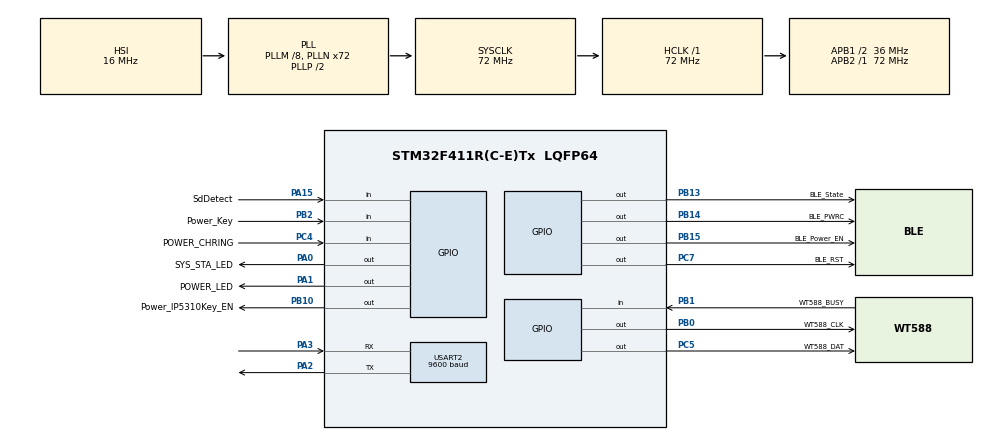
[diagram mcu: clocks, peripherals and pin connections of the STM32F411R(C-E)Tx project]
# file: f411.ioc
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Dma.Request0=USART2_RX
Dma.Request1=USART2_TX
Dma.USART2_RX.0.Direction=DMA_PERIPH_TO_MEMORY
Dma.USART2_RX.0.FIFOMode=DMA_FIFOMODE_DISABLE
Dma.USART2_RX.0.Instance=DMA1_Stream5
Dma.USART2_RX.0.MemDataAlignment=DMA_MDATAALIGN_BYTE
Dma.USART2_RX.0.MemInc=DMA_MINC_ENABLE
Dma.USART2_RX.0.Mode=DMA_NORMAL
Dma.USART2_RX.0.PeriphDataAlignment=DMA_PDATAALIGN_BYTE
Dma.USART2_RX.0.PeriphInc=DMA_PINC_DISABLE
Dma.USART2_RX.0.Priority=DMA_PRIORITY_LOW
Dma.USART2_TX.1.Direction=DMA_MEMORY_TO_PERIPH
Dma.USART2_TX.1.FIFOMode=DMA_FIFOMODE_DISABLE
Dma.USART2_TX.1.Instance=DMA1_Stream6
Dma.USART2_TX.1.MemDataAlignment=DMA_MDATAALIGN_BYTE
Dma.USART2_TX.1.MemInc=DMA_MINC_ENABLE
Dma.USART2_TX.1.Mode=DMA_NORMAL
Dma.USART2_TX.1.PeriphDataAlignment=DMA_PDATAALIGN_BYTE
Dma.USART2_TX.1.PeriphInc=DMA_PINC_DISABLE
Dma.USART2_TX.1.Priority=DMA_PRIORITY_LOW
Mcu.Family=STM32F4
Mcu.Name=STM32F411R(C-E)Tx
Mcu.Package=LQFP64
NVIC.DMA1_Stream5_IRQn=true\:0\:0\:false\:false\:true\:false\:true\:true
NVIC.DMA1_Stream6_IRQn=true\:0\:0\:false\:false\:true\:false\:true\:true
NVIC.PriorityGroup=NVIC_PRIORITYGROUP_2
NVIC.USART2_IRQn=true\:0\:0\:false\:false\:true\:true\:true\:true
PA0-WKUP.GPIO_Label=SYS_STA_LED
PA0-WKUP.Signal=GPIO_Output
PA1.GPIO_Label=POWER_LED
PA1.Signal=GPIO_Output
PA13.Mode=Trace_Asynchronous_SW
PA13.Signal=SYS_JTMS-SWDIO
PA14.Mode=Trace_Asynchronous_SW
PA14.Signal=SYS_JTCK-SWCLK
PA15.GPIO_Label=SdDetect
PA15.GPIO_PuPd=GPIO_PULLUP
PA15.Signal=GPIO_Input
PA2.Mode=Asynchronous
PA2.Signal=USART2_TX
PA3.Mode=Asynchronous
PA3.Signal=USART2_RX
PB0.GPIO_Label=WT588_CLK
PB0.GPIO_PuPd=GPIO_PULLUP
PB0.PinState=GPIO_PIN_SET
PB0.Signal=GPIO_Output
PB1.GPIO_Label=WT588_BUSY
PB1.GPIO_PuPd=GPIO_PULLUP
PB1.Signal=GPIO_Input
PB10.GPIO_Label=Power_IP5310Key_EN
PB10.PinState=GPIO_PIN_RESET
PB10.Signal=GPIO_Output
PB13.GPIO_Label=BLE_State
PB13.Signal=GPIO_Output
PB14.GPIO_Label=BLE_PWRC
PB14.Signal=GPIO_Output
PB15.GPIO_Label=BLE_Power_EN
PB15.Signal=GPIO_Output
PB2.GPIO_Label=Power_Key
PB2.GPIO_PuPd=GPIO_PULLUP
PB2.Signal=GPIO_Input
PB3.Mode=Trace_Asynchronous_SW
PB3.Signal=SYS_JTDO-SWO
PC4.GPIO_Label=POWER_CHRING
PC4.GPIO_PuPd=GPIO_PULLUP
PC4.Signal=GPIO_Input
PC5.GPIO_Label=WT588_DAT
PC5.GPIO_ModeDefaultOutputPP=GPIO_MODE_OUTPUT_PP
PC5.GPIO_PuPd=GPIO_PULLUP
PC5.PinState=GPIO_PIN_SET
PC5.Signal=GPIO_Output
PC7.GPIO_Label=BLE_RST
PC7.Signal=GPIO_Output
PH0\ -\ OSC_IN.Mode=HSE-External-Oscillator
PH0\ -\ OSC_IN.Signal=RCC_OSC_IN
PH1\ -\ OSC_OUT.Mode=HSE-External-Oscillator
PH1\ -\ OSC_OUT.Signal=RCC_OSC_OUT
ProjectManager.HeapSize=0x200
ProjectManager.StackSize=0x1000
ProjectManager.TargetToolchain=Makefile
RCC.48MHZClocksFreq_Value=48000000
RCC.AHBFreq_Value=72000000
RCC.APB1CLKDivider=RCC_HCLK_DIV2
RCC.APB1Freq_Value=36000000
RCC.APB1TimFreq_Value=72000000
RCC.APB2Freq_Value=72000000
RCC.APB2TimFreq_Value=72000000
RCC.CortexFreq_Value=72000000
RCC.HCLKFreq_Value=72000000
RCC.HSE_VALUE=8000000
RCC.HSI_VALUE=16000000
RCC.LSE_VALUE=32768
RCC.PLLM=8
RCC.PLLN=72
RCC.PLLQ=3
RCC.SYSCLKFreq_VALUE=72000000
RCC.SYSCLKSource=RCC_SYSCLKSOURCE_PLLCLK
RCC.VCOOutputFreq_Value=144000000
TIM2.Period=0
TIM2.Prescaler=71
USART2.BaudRate=9600
USART2.VirtualMode=VM_ASYNC
VP_TIM2_VS_ClockSourceINT.Mode=Internal
board=custom

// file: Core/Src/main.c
/* USER CODE BEGIN Header */
/**
 ******************************************************************************
 * @file           : main.c
 * @brief          : Main program body
 ******************************************************************************
 * @attention
 *
 * Copyright (c) 2023 STMicroelectronics.
 * All rights reserved.
 *
 * This software is licensed under terms that can be found in the LICENSE file
 * in the root directory of this software component.
 * If no LICENSE file comes with this software, it is provided AS-IS.
 *
 ******************************************************************************
 */
/* USER CODE END Header */
#include "main.h"

/* USER CODE BEGIN Includes */
#include "update.h"
// bootloader:48KB@0x08000000
// para:      16KB@0x0800C000
// app:      448KB@0x08010000
/* USER CODE END Includes */

TIM_HandleTypeDef htim2;

UART_HandleTypeDef huart2;
DMA_HandleTypeDef hdma_usart2_rx;
DMA_HandleTypeDef hdma_usart2_tx;

void SystemClock_Config(void);
static void MX_GPIO_Init(void);
static void MX_DMA_Init(void);
static void MX_USART2_UART_Init(void);
static void MX_TIM2_Init(void);
/* USER CODE BEGIN PFP */
#define APPLICATION_ADDRESS (uint32_t)0x08010000
unsigned int check = 0;
unsigned int pollcnt;
unsigned short RxLenU2;
unsigned char gotoAppflag = 0;
const Config_type Config_default = {
    .boot_count = 0,
    .modbus_addr = 1,
    .Voltage_offset = 3000,
    .Current_offset = -2000,
    .boof = 1,
};
void System_Jump2Bootloader(void)
{

  typedef void (*pFunction)(void);
  pFunction Jump_To_Application;
  uint32_t JumpAddress;
  check = (*(__IO uint32_t *)APPLICATION_ADDRESS);

#if 0
  unsigned char i = 0;
  __disable_irq();
  SysTick->CTRL = 0;
  SysTick->LOAD = 0;
  SysTick->VAL = 0;
  HAL_RCC_DeInit();
  for (i = 0; i < 8; i++)
  {
    NVIC->ICER[i] = 0xFFFFFFFF;
    NVIC->ICPR[i] = 0xFFFFFFFF;
  }
  __enable_irq();
  __set_MSP(*(uint32_t *)APPLICATION_ADDRESS);
  __set_CONTROL(0);
#endif
  if (((*(__IO uint32_t *)APPLICATION_ADDRESS) & 0x2FFE0000) == 0x20020000)
  {
    HAL_UART_DMAStop(&huart2);

    /* Jump to user application */
    JumpAddress = *(__IO uint32_t *)(APPLICATION_ADDRESS + 4);
    Jump_To_Application = (pFunction)JumpAddress;
    /* Initialize user application's Stack Pointer */
    __set_MSP(*(__IO uint32_t *)APPLICATION_ADDRESS);
    Jump_To_Application();
    /* do nothing */
    while (1)
    {
      ;
    }
  }
}

/* USER CODE END PFP */

int main(void)
{

  /* MCU Configuration--------------------------------------------------------*/

  /* Reset of all peripherals, Initializes the Flash interface and the Systick. */
  HAL_Init();

  /* Configure the system clock */
  SystemClock_Config();

  /* Initialize all configured peripherals */
  MX_GPIO_Init();
  MX_DMA_Init();
  MX_USART2_UART_Init();
  MX_TIM2_Init();
  /* USER CODE BEGIN 2 */
  // IIC_Send_Byte(0);
  EEPROM_Init(&Config_default);
  Config_Read_Buf(0, &boot_count, sizeof(boot_count));
  boot_count++;
  Config_Write_Buf(0, &boot_count, sizeof(boot_count));
  Config_Read_Buf(6, &Voltage, sizeof(Voltage));
  Config_Read_Buf(14, &bootloaderflag, sizeof(bootloaderflag));               // 读取booloader
  if (bootloaderflag == 0xFFFF || bootloaderflag == 4 || bootloaderflag == 3) // 没有被配置过  bootloader中要求跳转到APP
  {
    bootloaderflag = 1;
    Config_Write_Buf(14, &bootloaderflag, sizeof(bootloaderflag));
  }
  if (bootloaderflag == 1) // 如果要去app就去app
  {
    System_Jump2Bootloader(); // 尝试启动app
    bootloaderflag = 2;       // 想去app 但是app没有程序
  }

  HAL_UART_Receive_DMA(&huart2, RxBufU2, MAXU2MAX);
  __HAL_UART_ENABLE_IT(&huart2, UART_IT_IDLE);
  shortKeyPress();
  BlerstH;
  BlePwrcH;
  BlePwrOn;

  /* USER CODE END 2 */

  /* Infinite loop */
  while (1)
  {

    /* USER CODE BEGIN 3 */
    exPool();
    if (pollcnt > 500)
    {
      pollcnt = 0;
      HAL_GPIO_TogglePin(POWER_LED_GPIO_Port, POWER_LED_Pin);
      HAL_GPIO_TogglePin(SYS_STA_LED_GPIO_Port, SYS_STA_LED_Pin);
    }
    if (bootloaderflag == 3 || gotoAppflag == 1) // 升级完成
    {
      gotoAppflag = 0;
      bootloaderflag = 4;                                            // 去app运行的标志
      Config_Write_Buf(14, &bootloaderflag, sizeof(bootloaderflag)); // 将这个标志存进FLASH
      System_Jump2Bootloader();                                      // 跳转去APP
    }
    if (HAL_GPIO_ReadPin(Power_Key_GPIO_Port, Power_Key_Pin) == GPIO_PIN_RESET)
    {

      // System_Jump2Bootloader();
    }

    /* USER CODE END 3 */
  }
}
void SystemClock_Config(void)
{
  RCC_OscInitTypeDef RCC_OscInitStruct = {0};
  RCC_ClkInitTypeDef RCC_ClkInitStruct = {0};

  /** Configure the main internal regulator output voltage
   */
  __HAL_RCC_PWR_CLK_ENABLE();
  __HAL_PWR_VOLTAGESCALING_CONFIG(PWR_REGULATOR_VOLTAGE_SCALE1);

  /** Initializes the RCC Oscillators according to the specified parameters
   * in the RCC_OscInitTypeDef structure.
   */
  RCC_OscInitStruct.OscillatorType = RCC_OSCILLATORTYPE_HSI;
  RCC_OscInitStruct.HSIState = RCC_HSI_ON;
  RCC_OscInitStruct.HSICalibrationValue = RCC_HSICALIBRATION_DEFAULT;
  RCC_OscInitStruct.PLL.PLLState = RCC_PLL_ON;
  RCC_OscInitStruct.PLL.PLLSource = RCC_PLLSOURCE_HSI;
  RCC_OscInitStruct.PLL.PLLM = 8;
  RCC_OscInitStruct.PLL.PLLN = 72;
  RCC_OscInitStruct.PLL.PLLP = RCC_PLLP_DIV2;
  RCC_OscInitStruct.PLL.PLLQ = 3;
  if (HAL_RCC_OscConfig(&RCC_OscInitStruct) != HAL_OK)
  {
    Error_Handler();
  }

  /** Initializes the CPU, AHB and APB buses clocks
   */
  RCC_ClkInitStruct.ClockType = RCC_CLOCKTYPE_HCLK | RCC_CLOCKTYPE_SYSCLK | RCC_CLOCKTYPE_PCLK1 | RCC_CLOCKTYPE_PCLK2;
  RCC_ClkInitStruct.SYSCLKSource = RCC_SYSCLKSOURCE_PLLCLK;
  RCC_ClkInitStruct.AHBCLKDivider = RCC_SYSCLK_DIV1;
  RCC_ClkInitStruct.APB1CLKDivider = RCC_HCLK_DIV2;
  RCC_ClkInitStruct.APB2CLKDivider = RCC_HCLK_DIV1;

  if (HAL_RCC_ClockConfig(&RCC_ClkInitStruct, FLASH_LATENCY_2) != HAL_OK)
  {
    Error_Handler();
  }
}

static void MX_TIM2_Init(void)
{

  TIM_ClockConfigTypeDef sClockSourceConfig = {0};
  TIM_MasterConfigTypeDef sMasterConfig = {0};

  htim2.Instance = TIM2;
  htim2.Init.Prescaler = 71;
  htim2.Init.CounterMode = TIM_COUNTERMODE_UP;
  htim2.Init.Period = 0;
  htim2.Init.ClockDivision = TIM_CLOCKDIVISION_DIV1;
  htim2.Init.AutoReloadPreload = TIM_AUTORELOAD_PRELOAD_DISABLE;
  if (HAL_TIM_Base_Init(&htim2) != HAL_OK)
  {
    Error_Handler();
  }
  sClockSourceConfig.ClockSource = TIM_CLOCKSOURCE_INTERNAL;
  if (HAL_TIM_ConfigClockSource(&htim2, &sClockSourceConfig) != HAL_OK)
  {
    Error_Handler();
  }
  sMasterConfig.MasterOutputTrigger = TIM_TRGO_RESET;
  sMasterConfig.MasterSlaveMode = TIM_MASTERSLAVEMODE_DISABLE;
  if (HAL_TIMEx_MasterConfigSynchronization(&htim2, &sMasterConfig) != HAL_OK)
  {
    Error_Handler();
  }
}

static void MX_USART2_UART_Init(void)
{

  huart2.Instance = USART2;
  huart2.Init.BaudRate = 230400;
  huart2.Init.WordLength = UART_WORDLENGTH_8B;
  huart2.Init.StopBits = UART_STOPBITS_1;
  huart2.Init.Parity = UART_PARITY_NONE;
  huart2.Init.Mode = UART_MODE_TX_RX;
  huart2.Init.HwFlowCtl = UART_HWCONTROL_NONE;
  huart2.Init.OverSampling = UART_OVERSAMPLING_16;
  if (HAL_UART_Init(&huart2) != HAL_OK)
  {
    Error_Handler();
  }
}

static void MX_DMA_Init(void)
{

  /* DMA controller clock enable */
  __HAL_RCC_DMA1_CLK_ENABLE();

  /* DMA interrupt init */
  /* DMA1_Stream5_IRQn interrupt configuration */
  HAL_NVIC_SetPriority(DMA1_Stream5_IRQn, 0, 0);
  HAL_NVIC_EnableIRQ(DMA1_Stream5_IRQn);
  /* DMA1_Stream6_IRQn interrupt configuration */
  HAL_NVIC_SetPriority(DMA1_Stream6_IRQn, 0, 0);
  HAL_NVIC_EnableIRQ(DMA1_Stream6_IRQn);
}

static void MX_GPIO_Init(void)
{
  GPIO_InitTypeDef GPIO_InitStruct = {0};

  /* GPIO Ports Clock Enable */
  __HAL_RCC_GPIOH_CLK_ENABLE();
  __HAL_RCC_GPIOA_CLK_ENABLE();
  __HAL_RCC_GPIOC_CLK_ENABLE();
  __HAL_RCC_GPIOB_CLK_ENABLE();

  /*Configure GPIO pin Output Level */
  HAL_GPIO_WritePin(GPIOA, SYS_STA_LED_Pin | POWER_LED_Pin, GPIO_PIN_RESET);

  /*Configure GPIO pin Output Level */
  HAL_GPIO_WritePin(WT588_DAT_GPIO_Port, WT588_DAT_Pin, GPIO_PIN_SET);

  /*Configure GPIO pin Output Level */
  HAL_GPIO_WritePin(WT588_CLK_GPIO_Port, WT588_CLK_Pin, GPIO_PIN_SET);

  /*Configure GPIO pin Output Level */
  HAL_GPIO_WritePin(GPIOB, Power_IP5310Key_EN_Pin | BLE_State_Pin | BLE_PWRC_Pin | BLE_Power_EN_Pin, GPIO_PIN_RESET);

  /*Configure GPIO pin Output Level */
  HAL_GPIO_WritePin(BLE_RST_GPIO_Port, BLE_RST_Pin, GPIO_PIN_RESET);

  /*Configure GPIO pins : SYS_STA_LED_Pin POWER_LED_Pin */
  GPIO_InitStruct.Pin = SYS_STA_LED_Pin | POWER_LED_Pin;
  GPIO_InitStruct.Mode = GPIO_MODE_OUTPUT_PP;
  GPIO_InitStruct.Pull = GPIO_NOPULL;
  GPIO_InitStruct.Speed = GPIO_SPEED_FREQ_LOW;
  HAL_GPIO_Init(GPIOA, &GPIO_InitStruct);

  /*Configure GPIO pin : POWER_CHRING_Pin */
  GPIO_InitStruct.Pin = POWER_CHRING_Pin;
  GPIO_InitStruct.Mode = GPIO_MODE_INPUT;
  GPIO_InitStruct.Pull = GPIO_PULLUP;
  HAL_GPIO_Init(POWER_CHRING_GPIO_Port, &GPIO_InitStruct);

  /*Configure GPIO pin : WT588_DAT_Pin */
  GPIO_InitStruct.Pin = WT588_DAT_Pin;
  GPIO_InitStruct.Mode = GPIO_MODE_OUTPUT_PP;
  GPIO_InitStruct.Pull = GPIO_PULLUP;
  GPIO_InitStruct.Speed = GPIO_SPEED_FREQ_LOW;
  HAL_GPIO_Init(WT588_DAT_GPIO_Port, &GPIO_InitStruct);

  /*Configure GPIO pin : WT588_CLK_Pin */
  GPIO_InitStruct.Pin = WT588_CLK_Pin;
  GPIO_InitStruct.Mode = GPIO_MODE_OUTPUT_PP;
  GPIO_InitStruct.Pull = GPIO_PULLUP;
  GPIO_InitStruct.Speed = GPIO_SPEED_FREQ_LOW;
  HAL_GPIO_Init(WT588_CLK_GPIO_Port, &GPIO_InitStruct);

  /*Configure GPIO pins : WT588_BUSY_Pin Power_Key_Pin */
  GPIO_InitStruct.Pin = WT588_BUSY_Pin | Power_Key_Pin;
  GPIO_InitStruct.Mode = GPIO_MODE_INPUT;
  GPIO_InitStruct.Pull = GPIO_PULLUP;
  HAL_GPIO_Init(GPIOB, &GPIO_InitStruct);

  /*Configure GPIO pins : Power_IP5310Key_EN_Pin BLE_State_Pin BLE_PWRC_Pin BLE_Power_EN_Pin */
  GPIO_InitStruct.Pin = Power_IP5310Key_EN_Pin | BLE_State_Pin | BLE_PWRC_Pin | BLE_Power_EN_Pin;
  GPIO_InitStruct.Mode = GPIO_MODE_OUTPUT_PP;
  GPIO_InitStruct.Pull = GPIO_NOPULL;
  GPIO_InitStruct.Speed = GPIO_SPEED_FREQ_LOW;
  HAL_GPIO_Init(GPIOB, &GPIO_InitStruct);

  /*Configure GPIO pin : BLE_RST_Pin */
  GPIO_InitStruct.Pin = BLE_RST_Pin;
  GPIO_InitStruct.Mode = GPIO_MODE_OUTPUT_PP;
  GPIO_InitStruct.Pull = GPIO_NOPULL;
  GPIO_InitStruct.Speed = GPIO_SPEED_FREQ_LOW;
  HAL_GPIO_Init(BLE_RST_GPIO_Port, &GPIO_InitStruct);

  /*Configure GPIO pin : SdDetect_Pin */
  GPIO_InitStruct.Pin = SdDetect_Pin;
  GPIO_InitStruct.Mode = GPIO_MODE_INPUT;
  GPIO_InitStruct.Pull = GPIO_PULLUP;
  HAL_GPIO_Init(SdDetect_GPIO_Port, &GPIO_InitStruct);
}

void Error_Handler(void)
{
  __disable_irq();
  while (1)
  {
  }
}
